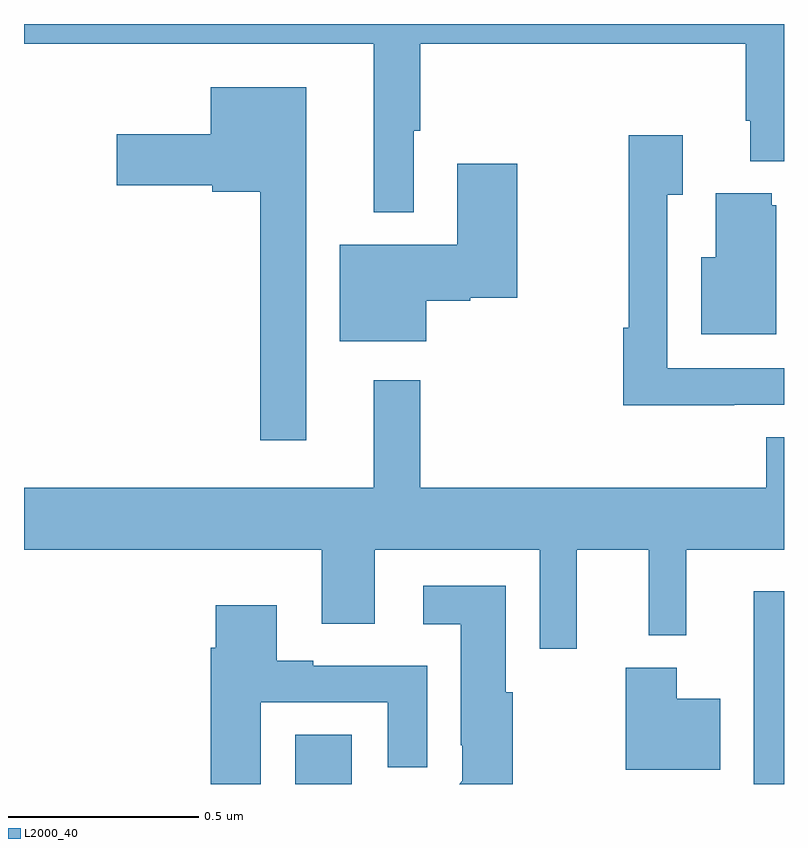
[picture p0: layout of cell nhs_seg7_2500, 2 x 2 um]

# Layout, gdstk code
import gdstk
lib = gdstk.Library(unit=1e-6, precision=1e-09)
def R(c, l, rs):  # rectangles x0, y0, x1, y1
    for r in rs: c.add(gdstk.rectangle(r[:2], r[2:], *l))
def P(c, l, *ps):  # polygons
    for p in ps: c.add(gdstk.Polygon(p, *l))
L2000_40 = (2000, 40)

nhs_seg7_2500 = lib.new_cell('nhs_seg7_2500')
R(nhs_seg7_2500, L2000_40, [(146.714,1000,146.863,1000.13), (147.921,1000,148,1000.507)])
P(nhs_seg7_2500, L2000_40, [(147.025,1001.719),(147.043,1001.719),(147.043,1001.948),(147.899,1001.948),(147.899,1001.746),(147.911,1001.746),(147.911,1001.639),(148,1001.639),(148,1002),(146,1002),(146,1001.948),(146.921,1001.948),(146.921,1001.504),(147.025,1001.504)],
  [(146.743,1001.833),(146.492,1001.833),(146.492,1001.71),(146.244,1001.71),(146.244,1001.576),(146.496,1001.576),(146.496,1001.558),(146.622,1001.558),(146.622,1000.905),(146.743,1000.905)],
  [(147.869,1000.998),(148,1000.998),(148,1001.094),(147.693,1001.094),(147.693,1001.551),(147.733,1001.551),(147.733,1001.707),(147.592,1001.707),(147.592,1001.201),(147.577,1001.201),(147.577,1000.997),(147.869,1000.997)],
  [(147.058,1001.272),(147.174,1001.272),(147.174,1001.279),(147.298,1001.279),(147.298,1001.632),(147.14,1001.632),(147.14,1001.419),(146.831,1001.419),(146.831,1001.165),(147.058,1001.165)],
  [(147.979,1001.523),(147.968,1001.523),(147.968,1001.554),(147.821,1001.554),(147.821,1001.386),(147.782,1001.386),(147.782,1001.183),(147.979,1001.183)],
  [(147.455,1000.616),(147.644,1000.616),(147.644,1000.391),(147.743,1000.391),(147.743,1000.616),(148,1000.616),(148,1000.913),(147.953,1000.913),(147.953,1000.78),(147.043,1000.78),(147.043,1001.062),(146.921,1001.062),(146.921,1000.78),(146,1000.78),(146,1000.616),(146.783,1000.616),(146.783,1000.422),(146.923,1000.422),(146.923,1000.616),(147.357,1000.616),(147.357,1000.356),(147.455,1000.356)],
  [(147.286,1000.242),(147.268,1000.242),(147.268,1000.522),(147.051,1000.522),(147.051,1000.421),(147.149,1000.421),(147.149,1000.102),(147.153,1000.102),(147.153,1000.008),(147.145,1000),(147.286,1000)],
  [(146.623,1000.215),(146.957,1000.215),(146.957,1000.044),(147.061,1000.044),(147.061,1000.311),(146.761,1000.311),(146.761,1000.324),(146.665,1000.324),(146.665,1000.471),(146.504,1000.471),(146.504,1000.358),(146.492,1000.358),(146.492,1000),(146.623,1000)],
  [(147.832,1000.225),(147.718,1000.225),(147.718,1000.306),(147.584,1000.306),(147.584,1000.037),(147.832,1000.037)])

lib.write_gds('nhs_seg7_2500.gds')
